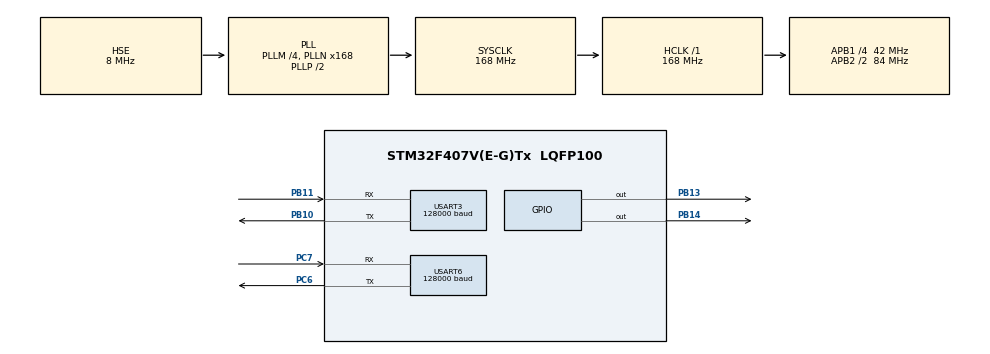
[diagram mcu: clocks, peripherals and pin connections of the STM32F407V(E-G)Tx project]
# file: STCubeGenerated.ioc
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Mcu.Family=STM32F4
Mcu.Name=STM32F407V(E-G)Tx
Mcu.Package=LQFP100
NVIC.PriorityGroup=NVIC_PRIORITYGROUP_4
NVIC.USART3_IRQn=true\:0\:0\:false\:true\:true\:1\:true\:true
PB10.Mode=Asynchronous
PB10.Signal=USART3_TX
PB11.Mode=Asynchronous
PB11.Signal=USART3_RX
PB13.Signal=GPIO_Output
PB14.Signal=GPIO_Output
PC6.Mode=Asynchronous
PC6.Signal=USART6_TX
PC7.Mode=Asynchronous
PC7.Signal=USART6_RX
PH0-OSC_IN.Mode=HSE-External-Oscillator
PH0-OSC_IN.Signal=RCC_OSC_IN
PH1-OSC_OUT.Mode=HSE-External-Oscillator
PH1-OSC_OUT.Signal=RCC_OSC_OUT
ProjectManager.HeapSize=0x200
ProjectManager.StackSize=0x400
ProjectManager.TargetToolchain=MDK-ARM V5
RCC.48MHZClocksFreq_Value=84000000
RCC.AHBFreq_Value=168000000
RCC.APB1CLKDivider=RCC_HCLK_DIV4
RCC.APB1Freq_Value=42000000
RCC.APB1TimFreq_Value=84000000
RCC.APB2CLKDivider=RCC_HCLK_DIV2
RCC.APB2Freq_Value=84000000
RCC.APB2TimFreq_Value=168000000
RCC.CortexFreq_Value=168000000
RCC.HCLKFreq_Value=168000000
RCC.HSE_VALUE=8000000
RCC.HSI_VALUE=16000000
RCC.LSE_VALUE=32768
RCC.PLLM=4
RCC.PLLN=168
RCC.PLLSourceVirtual=RCC_PLLSOURCE_HSE
RCC.SYSCLKFreq_VALUE=168000000
RCC.SYSCLKSource=RCC_SYSCLKSOURCE_PLLCLK
RCC.VCOOutputFreq_Value=336000000
USART3.BaudRate=128000
USART3.VirtualMode=VM_ASYNC
USART6.BaudRate=128000
USART6.VirtualMode=VM_ASYNC
board=custom

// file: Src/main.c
/* USER CODE BEGIN Header */
/**
  ******************************************************************************
  * @file           : main.c
  * @brief          : Main program body
  ******************************************************************************
  * @attention
  *
  * <h2><center>&copy; Copyright (c) 2019 STMicroelectronics.
  * All rights reserved.</center></h2>
  *
  * This software component is licensed by ST under BSD 3-Clause license,
  * the "License"; You may not use this file except in compliance with the
  * License. You may obtain a copy of the License at:
  *                        opensource.org/licenses/BSD-3-Clause
  *
  ******************************************************************************
  */
/* USER CODE END Header */

#include "main.h"

/* USER CODE BEGIN Includes */
#include <stdbool.h>
#include <YDLidar.h>
#include <stdio.h>

/* USER CODE END Includes */

/* USER CODE BEGIN PD */
#define YDLIDAR_MOTOR_SCTP 13 // The PWM pin for control the speed of YDLIDAR's motor.
#define YDLIDAR_MOTRO_EN   14 // The ENABLE PIN for YDLIDAR's motor

/* USER CODE END PD */

UART_HandleTypeDef huart3;
UART_HandleTypeDef huart6;

/* USER CODE BEGIN PV */
bool isScanning = false;

/* USER CODE END PV */

void SystemClock_Config(void);
static void MX_GPIO_Init(void);
static void MX_USART3_UART_Init(void);
static void MX_USART6_UART_Init(void);
static void MX_NVIC_Init(void);
/* USER CODE BEGIN PFP */
int _write(int file, char* p, int len) {
	HAL_UART_Transmit(&huart6, p, len, 10);
	return len;
}

void restartScan(void);
/* USER CODE END PFP */

int main(void)
{

  /* MCU Configuration--------------------------------------------------------*/

  /* Reset of all peripherals, Initializes the Flash interface and the Systick. */
  HAL_Init();

  /* Configure the system clock */
  SystemClock_Config();

  /* Initialize all configured peripherals */
  MX_GPIO_Init();
  MX_USART3_UART_Init();
  MX_USART6_UART_Init();

  /* Initialize interrupts */
  MX_NVIC_Init();

  /* Infinite loop */
  /* USER CODE BEGIN WHILE */
  while (1)
  {
		if(isScanning){
      if (waitScanDot(500) == RESULT_OK) {
				float distance = getCurrentScanPoint().distance; //distance value in mm unit
				float angle    = getCurrentScanPoint().angle; //anglue value in degree
				uint8_t  quality  = getCurrentScanPoint().quality; //quality of the current measurement
				bool  startBit = getCurrentScanPoint().startBit;
				printf("current angle: %f\n", angle);
				printf("current distance: %f\n", distance);
      }else{
				printf(" YDLIDAR get Scandata failed!!\n");\
      }
    }else{
        //stop motor
			HAL_GPIO_WritePin(GPIOB, YDLIDAR_MOTRO_EN, GPIO_PIN_RESET);
	    restartScan();
    }
    /* USER CODE END WHILE */

  }
}

void SystemClock_Config(void)
{
  RCC_OscInitTypeDef RCC_OscInitStruct = {0};
  RCC_ClkInitTypeDef RCC_ClkInitStruct = {0};

  /** Configure the main internal regulator output voltage
  */
  __HAL_RCC_PWR_CLK_ENABLE();
  __HAL_PWR_VOLTAGESCALING_CONFIG(PWR_REGULATOR_VOLTAGE_SCALE1);
  /** Initializes the CPU, AHB and APB busses clocks
  */
  RCC_OscInitStruct.OscillatorType = RCC_OSCILLATORTYPE_HSE;
  RCC_OscInitStruct.HSEState = RCC_HSE_ON;
  RCC_OscInitStruct.PLL.PLLState = RCC_PLL_ON;
  RCC_OscInitStruct.PLL.PLLSource = RCC_PLLSOURCE_HSE;
  RCC_OscInitStruct.PLL.PLLM = 4;
  RCC_OscInitStruct.PLL.PLLN = 168;
  RCC_OscInitStruct.PLL.PLLP = RCC_PLLP_DIV2;
  RCC_OscInitStruct.PLL.PLLQ = 4;
  if (HAL_RCC_OscConfig(&RCC_OscInitStruct) != HAL_OK)
  {
    Error_Handler();
  }
  /** Initializes the CPU, AHB and APB busses clocks
  */
  RCC_ClkInitStruct.ClockType = RCC_CLOCKTYPE_HCLK|RCC_CLOCKTYPE_SYSCLK
                              |RCC_CLOCKTYPE_PCLK1|RCC_CLOCKTYPE_PCLK2;
  RCC_ClkInitStruct.SYSCLKSource = RCC_SYSCLKSOURCE_PLLCLK;
  RCC_ClkInitStruct.AHBCLKDivider = RCC_SYSCLK_DIV1;
  RCC_ClkInitStruct.APB1CLKDivider = RCC_HCLK_DIV4;
  RCC_ClkInitStruct.APB2CLKDivider = RCC_HCLK_DIV2;

  if (HAL_RCC_ClockConfig(&RCC_ClkInitStruct, FLASH_LATENCY_5) != HAL_OK)
  {
    Error_Handler();
  }
}

/**
  * @brief NVIC Configuration.
  * @retval None
  */
static void MX_NVIC_Init(void)
{
  /* USART3_IRQn interrupt configuration */
  HAL_NVIC_SetPriority(USART3_IRQn, 0, 0);
  HAL_NVIC_EnableIRQ(USART3_IRQn);
}

static void MX_USART3_UART_Init(void)
{

  huart3.Instance = USART3;
  huart3.Init.BaudRate = 128000;
  huart3.Init.WordLength = UART_WORDLENGTH_8B;
  huart3.Init.StopBits = UART_STOPBITS_1;
  huart3.Init.Parity = UART_PARITY_NONE;
  huart3.Init.Mode = UART_MODE_TX_RX;
  huart3.Init.HwFlowCtl = UART_HWCONTROL_NONE;
  huart3.Init.OverSampling = UART_OVERSAMPLING_16;
  if (HAL_UART_Init(&huart3) != HAL_OK)
  {
    Error_Handler();
  }

}

static void MX_USART6_UART_Init(void)
{

  huart6.Instance = USART6;
  huart6.Init.BaudRate = 128000;
  huart6.Init.WordLength = UART_WORDLENGTH_8B;
  huart6.Init.StopBits = UART_STOPBITS_1;
  huart6.Init.Parity = UART_PARITY_NONE;
  huart6.Init.Mode = UART_MODE_TX_RX;
  huart6.Init.HwFlowCtl = UART_HWCONTROL_NONE;
  huart6.Init.OverSampling = UART_OVERSAMPLING_16;
  if (HAL_UART_Init(&huart6) != HAL_OK)
  {
    Error_Handler();
  }

}

static void MX_GPIO_Init(void)
{
  GPIO_InitTypeDef GPIO_InitStruct = {0};

  /* GPIO Ports Clock Enable */
  __HAL_RCC_GPIOH_CLK_ENABLE();
  __HAL_RCC_GPIOB_CLK_ENABLE();
  __HAL_RCC_GPIOC_CLK_ENABLE();

  /*Configure GPIO pin Output Level */
  HAL_GPIO_WritePin(GPIOB, GPIO_PIN_13|GPIO_PIN_14, GPIO_PIN_RESET);

  /*Configure GPIO pins : PB13 PB14 */
  GPIO_InitStruct.Pin = GPIO_PIN_13|GPIO_PIN_14;
  GPIO_InitStruct.Mode = GPIO_MODE_OUTPUT_PP;
  GPIO_InitStruct.Pull = GPIO_NOPULL;
  GPIO_InitStruct.Speed = GPIO_SPEED_FREQ_LOW;
  HAL_GPIO_Init(GPIOB, &GPIO_InitStruct);

}

/* USER CODE BEGIN 4 */

void restartScan(void){
    device_info deviceinfo;
    if (getDeviceInfo(&deviceinfo, 100) == RESULT_OK) {
         int _samp_rate=4;
         float freq = 7.0f;
         switch(deviceinfo.model){
            case 1:
                _samp_rate=4;
                freq = 7.0;
                break;
            case 4:
                _samp_rate=4;
                freq = 7.0;
                break;
            case 5:
                _samp_rate=9;
                freq = 7.0;
                break;
            case 6:
                _samp_rate=5;
                freq = 7.0;
                break;
          }

          uint16_t maxv = (uint16_t)(deviceinfo.firmware_version>>8);
          uint16_t midv = (uint16_t)(deviceinfo.firmware_version&0xff)/10;
          uint16_t minv = (uint16_t)(deviceinfo.firmware_version&0xff)%10;
          if(midv==0){
            midv = minv;
            minv = 0;
          }

          printf("Firmware version: %d.%d.%d\n", maxv, midv, minv);
          printf("Hardware version: %d\n", deviceinfo.hardware_version);
          printf("Hardware version: %d\n", deviceinfo.hardware_version);
          printf("Model: X4\n");
          printf("Serial: %s\n", deviceinfo.serialnum);

          printf("[YDLIDAR INFO] Current Sampling Rate: %dK\n", _samp_rate);
          printf("[YDLIDAR INFO] Current Scan Frequency: %fHz\n", freq);
					HAL_Delay(100);

          device_health healthinfo;
          if (getHealth(&healthinfo, 100) == RESULT_OK){
             // detected...
              printf("[YDLIDAR INFO] YDLIDAR running correctly! The health status: %s\n", healthinfo.status==0?"well":"bad");
              if(startScan(false, 1000) == RESULT_OK){
                isScanning = true;
                //start motor in 1.8v
								HAL_GPIO_WritePin(GPIOB, YDLIDAR_MOTRO_EN, GPIO_PIN_SET);
                printf("Now YDLIDAR is scanning ......");
              //delay(1000);
              }else{
                  printf("start YDLIDAR is failed!  Continue........");
              }
          }else{
              printf("cannot retrieve YDLIDAR health");
          }

       }else{
             printf("YDLIDAR get DeviceInfo Error!!!");
       }
}

/* USER CODE END 4 */

void Error_Handler(void)
{
}

/************************ (C) COPYRIGHT STMicroelectronics *****END OF FILE****/
